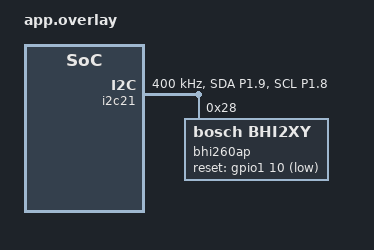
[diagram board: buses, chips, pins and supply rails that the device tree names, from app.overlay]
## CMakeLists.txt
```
#
# Copyright (c) 2025, Bojan Sofronievski
#
# SPDX-License-Identifier: Apache-2.0
#

cmake_minimum_required(VERSION 3.20.0)
find_package(Zephyr REQUIRED HINTS $ENV{ZEPHYR_BASE})
project(NONE)

file(GLOB app_sources src/*.c)
target_sources(app PRIVATE ${app_sources})
```

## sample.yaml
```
sample:
  name: BHI260AP Sensor sample
tests:
  sample.sensor.bhi260ap:
    harness: sensor
    tags:
      - samples
      - sensor
    depends_on: i2c
```

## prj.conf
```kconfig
CONFIG_STDOUT_CONSOLE=y
CONFIG_I2C=y
CONFIG_SENSOR=y
```

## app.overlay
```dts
/*
 * Copyright (c) 2025, Bojan Sofronievski
 *
 * SPDX-License-Identifier: Apache-2.0
 */

&pinctrl {
	i2c21_default: i2c21_default {
		group1 {
			psels = <NRF_PSEL(TWIM_SDA, 1, 9)>,
				<NRF_PSEL(TWIM_SCL, 1, 8)>;
		};
	};

	i2c21_sleep: i2c21_sleep {
		group1 {
			psels = <NRF_PSEL(TWIM_SDA, 1, 9)>,
				<NRF_PSEL(TWIM_SCL, 1, 8)>;
			low-power-enable;
		};
	};
};

&i2c21 {
	compatible = "nordic,nrf-twim";
	status = "okay";
	pinctrl-0 = <&i2c21_default>;
	pinctrl-1 = <&i2c21_sleep>;
	pinctrl-names = "default", "sleep";
	clock-frequency = <I2C_BITRATE_FAST>;
	zephyr,concat-buf-size = <256>;

	bhi260ap@28 {
		compatible = "bosch,bhi2xy";
		status = "okay";
		reg = <0x28>;
		variant = "BHI260AP";
		reset-gpios = <&gpio1 10 GPIO_ACTIVE_LOW>;
	};
};
```

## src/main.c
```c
/*
 * Copyright (c) 2025, Bojan Sofronievski
 *
 * SPDX-License-Identifier: Apache-2.0
 */

#include <zephyr/kernel.h>
#include <zephyr/device.h>
#include <zephyr/drivers/sensor.h>
#include <stdio.h>

#define ABS(x) ((x) < 0 ? -(x) : (x))

int main(void)
{
	const struct device *const dev = DEVICE_DT_GET_ONE(bosch_bhi2xy);
	struct sensor_value game_rv[4];
	struct sensor_value sampling_freq;

	if (!device_is_ready(dev)) {
		printf("Device %s is not ready\n", dev->name);
		return 0;
	}

	printf("Device %p name is %s\n", dev, dev->name);

	sensor_value_from_float(&sampling_freq, 50.0f); /* 50Hz */
	sensor_attr_set(dev, SENSOR_CHAN_GAME_ROTATION_VECTOR, SENSOR_ATTR_SAMPLING_FREQUENCY,
			&sampling_freq);

	while (1) {
		/* 20ms period, 50Hz Sampling frequency */
		k_sleep(K_MSEC(20));

		sensor_sample_fetch(dev);

		sensor_channel_get(dev, SENSOR_CHAN_GAME_ROTATION_VECTOR_X, &game_rv[0]);
		sensor_channel_get(dev, SENSOR_CHAN_GAME_ROTATION_VECTOR_Y, &game_rv[1]);
		sensor_channel_get(dev, SENSOR_CHAN_GAME_ROTATION_VECTOR_Z, &game_rv[2]);
		sensor_channel_get(dev, SENSOR_CHAN_GAME_ROTATION_VECTOR_W, &game_rv[3]);

		printf("GRVX: %c%d.%06d; GRVY: %c%d.%06d; GRVZ: %c%d.%06d; GRVW: %c%d.%06d\n",
		       (game_rv[0].val1 < 0 || game_rv[0].val2 < 0) ? '-' : ' ',
		       ABS(game_rv[0].val1), ABS(game_rv[0].val2),
		       (game_rv[1].val1 < 0 || game_rv[1].val2 < 0) ? '-' : ' ',
		       ABS(game_rv[1].val1), ABS(game_rv[1].val2),
		       (game_rv[2].val1 < 0 || game_rv[2].val2 < 0) ? '-' : ' ',
		       ABS(game_rv[2].val1), ABS(game_rv[2].val2),
		       (game_rv[3].val1 < 0 || game_rv[3].val2 < 0) ? '-' : ' ',
		       ABS(game_rv[3].val1), ABS(game_rv[3].val2));
	}
	return 0;
}
```
